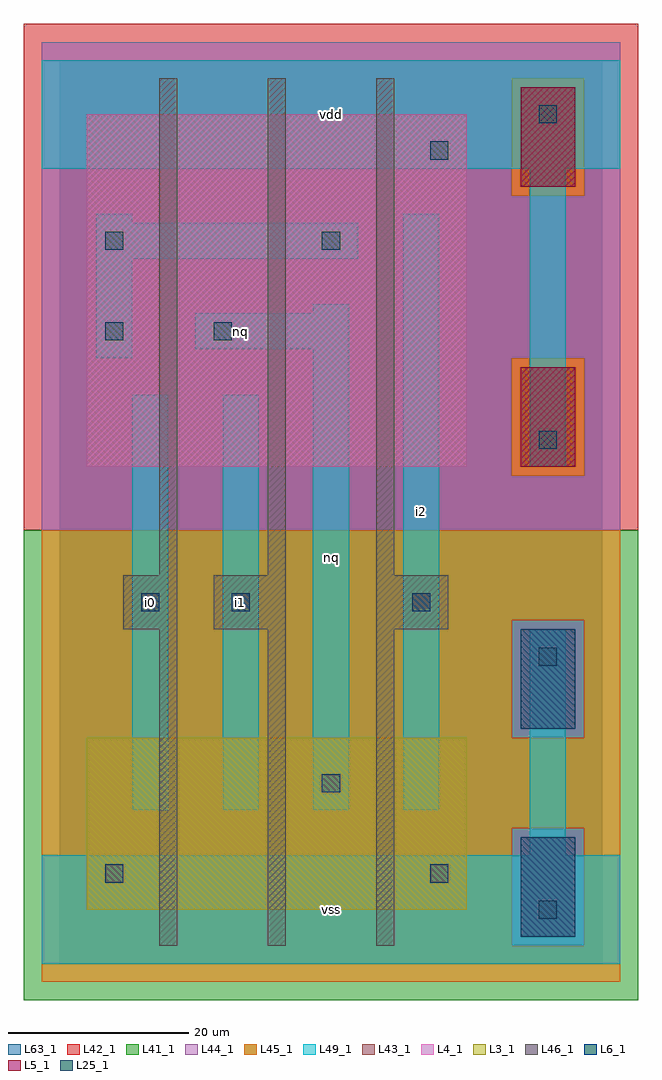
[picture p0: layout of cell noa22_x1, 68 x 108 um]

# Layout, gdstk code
import gdstk
lib = gdstk.Library(unit=1e-6, precision=1e-09)
def R(c, l, rs):  # rectangles x0, y0, x1, y1
    for r in rs: c.add(gdstk.rectangle(r[:2], r[2:], *l))
def A(c, l, x, y, w, h, nx, ny, dx, dy):  # array of equal rectangles
    R(c, l, [(x+i*dx, y+j*dy, x+i*dx+w, y+j*dy+h) for i in range(nx) for j in range(ny)])
L3_1 = (3, 1)
L4_1 = (4, 1)
L5_1 = (5, 1)
L6_1 = (6, 1)
L25_1 = (25, 1)
L41_1 = (41, 1)
L42_1 = (42, 1)
L43_1 = (43, 1)
L44_1 = (44, 1)
L45_1 = (45, 1)
L46_1 = (46, 1)
L49_1 = (49, 1)
L63_1 = (63, 1)

noa22_x1 = lib.new_cell('noa22_x1')
R(noa22_x1, L3_1, [(3,6,45,25)])
R(noa22_x1, L4_1, [(3,55,45,94)])
R(noa22_x1, L5_1, [(51,55,57,66), (51,86,57,97)])
R(noa22_x1, L6_1, [(51,3,57,14), (51,3,57,14), (51,26,57,37), (51,26,57,37)])
R(noa22_x1, L25_1, [(53,5,55,7), (5,9,7,11), (41,9,43,11), (29,19,31,21), (53,33,55,35), (9,39,11,41), (19,39,21,41), (39,39,41,41), (53,57,55,59), (5,69,7,71), (17,69,19,71), (5,79,7,81), (29,79,31,81), (41,89,43,91), (53,93,55,95)])
R(noa22_x1, L41_1, [(-4,-4,64,48)])
R(noa22_x1, L42_1, [(-4,48,64,104)])
R(noa22_x1, L43_1, [(51,3,57,14), (3,6,45,25), (51,26,57,37), (3,55,45,94), (51,55,57,66), (51,86,57,97)])
R(noa22_x1, L44_1, [(50,2,58,15), (50,25,58,38), (-2,48,62,54), (-2,54,50,67), (58,54,62,67), (-2,67,62,85), (-2,85,50,98), (58,85,62,98), (-2,98,62,102)])
R(noa22_x1, L45_1, [(-2,-2,62,2), (-2,2,50,15), (58,2,62,15), (-2,15,62,25), (-2,25,50,38), (58,25,62,38), (-2,38,62,48), (50,54,58,67), (50,85,58,98)])
A(noa22_x1, L46_1, 11, 2, 2, 35, 3, 1, 12, 0)
A(noa22_x1, L46_1, 11, 43, 2, 55, 3, 1, 12, 0)
R(noa22_x1, L46_1, [(7,37,13,43), (17,37,25,43), (35,37,43,43)])
R(noa22_x1, L49_1, [(-2,0,62,12), (52,12,56,37), (8,17,12,63), (18,17,22,63), (28,17,32,68), (38,17,42,83), (52,55,56,88), (4,67,8,78), (15,68,32,72), (28,72,32,73), (4,78,33,82), (4,82,8,83), (-2,88,62,100)])
R(noa22_x1, L63_1, [(0,0,60,100)])
noa22_x1.add(gdstk.Label('i0', (10,40), layer=49, texttype=1))
noa22_x1.add(gdstk.Label('i1', (20,40), layer=49, texttype=1))
noa22_x1.add(gdstk.Label('nq', (20,70), layer=49, texttype=1))
noa22_x1.add(gdstk.Label('vss', (30,6), layer=49, texttype=1))
noa22_x1.add(gdstk.Label('nq', (30,45), layer=49, texttype=1))
noa22_x1.add(gdstk.Label('i2', (40,50), layer=49, texttype=1))
noa22_x1.add(gdstk.Label('vdd', (30,94), layer=49, texttype=1))

lib.write_gds('noa22_x1.gds')
